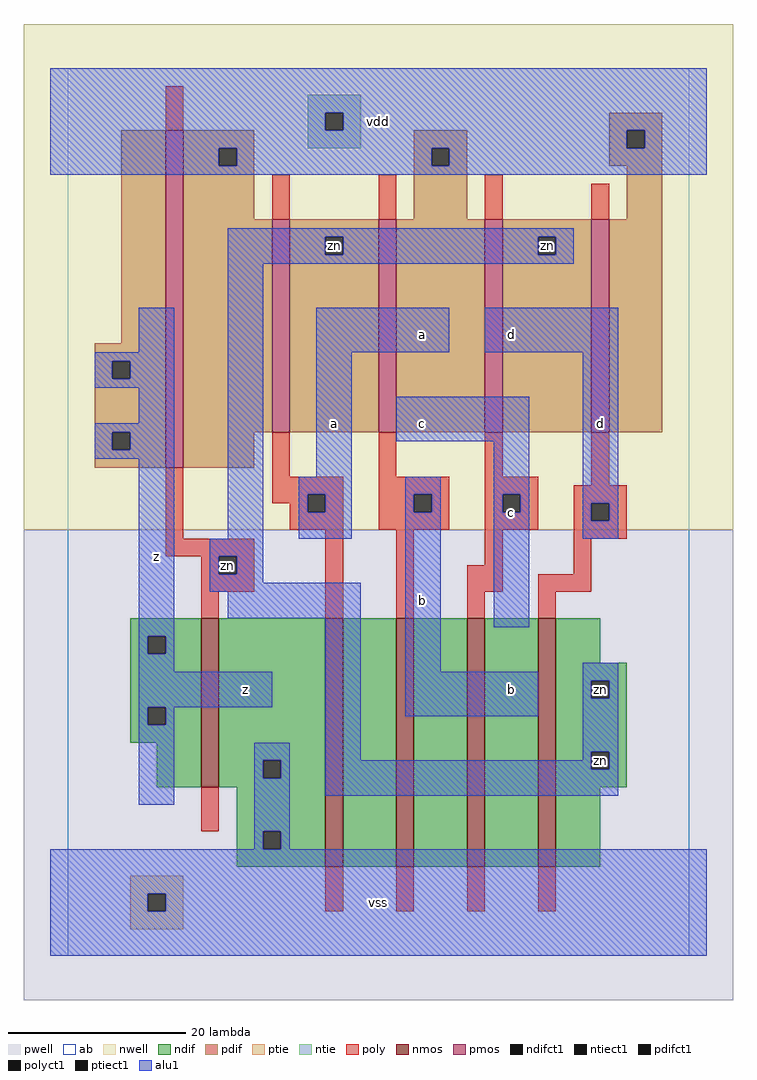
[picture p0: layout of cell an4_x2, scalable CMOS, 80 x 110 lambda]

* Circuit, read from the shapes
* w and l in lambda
.subckt an4_x2 a b c d vdd vss z zn
M1 vss zn z vss nfet w=19 l=2
M2 n1 a vss vss nfet w=28 l=2
M3 n2 b n1 vss nfet w=28 l=2
M4 n3 c n2 vss nfet w=28 l=2
M5 zn d n3 vss nfet w=28 l=2
M6 vdd zn z vdd pfet w=38 l=2
M7 zn a vdd vdd pfet w=24 l=2
M8 vdd b zn vdd pfet w=24 l=2
M9 zn c vdd vdd pfet w=24 l=2
M10 vdd d zn vdd pfet w=24 l=2
.ends

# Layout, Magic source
magic
tech scmos
<< ab >>
rect 0 0 70 100
<< nwell >>
rect -5 48 75 105
<< pwell >>
rect -5 -5 75 48
<< poly >>
rect 11 93 13 98
rect 23 83 25 88
rect 35 83 37 88
rect 47 83 49 88
rect 59 83 61 87
rect 11 47 13 55
rect 23 54 25 59
rect 35 54 37 59
rect 47 54 49 59
rect 23 52 31 54
rect 23 51 27 52
rect 25 50 27 51
rect 29 50 31 52
rect 25 48 31 50
rect 35 52 43 54
rect 35 50 39 52
rect 41 50 43 52
rect 35 48 43 50
rect 47 52 53 54
rect 59 53 61 59
rect 47 50 49 52
rect 51 50 53 52
rect 47 48 53 50
rect 57 51 63 53
rect 57 49 59 51
rect 61 49 63 51
rect 11 45 21 47
rect 15 43 17 45
rect 19 43 21 45
rect 15 41 21 43
rect 15 38 17 41
rect 29 38 31 48
rect 37 38 39 48
rect 47 44 49 48
rect 45 41 49 44
rect 57 47 63 49
rect 57 43 59 47
rect 53 41 59 43
rect 45 38 47 41
rect 53 38 55 41
rect 15 14 17 19
rect 29 5 31 10
rect 37 5 39 10
rect 45 5 47 10
rect 53 5 55 10
<< ndif >>
rect 7 36 15 38
rect 7 34 9 36
rect 11 34 15 36
rect 7 28 15 34
rect 7 26 9 28
rect 11 26 15 28
rect 7 24 15 26
rect 10 19 15 24
rect 17 22 29 38
rect 17 20 22 22
rect 24 20 29 22
rect 17 19 29 20
rect 19 14 29 19
rect 19 12 22 14
rect 24 12 29 14
rect 19 10 29 12
rect 31 10 37 38
rect 39 10 45 38
rect 47 10 53 38
rect 55 33 60 38
rect 55 31 63 33
rect 55 29 59 31
rect 61 29 63 31
rect 55 23 63 29
rect 55 21 59 23
rect 61 21 63 23
rect 55 19 63 21
rect 55 10 60 19
<< pdif >>
rect 61 93 67 95
rect 6 69 11 93
rect 3 67 11 69
rect 3 65 5 67
rect 7 65 11 67
rect 3 59 11 65
rect 3 57 5 59
rect 7 57 11 59
rect 3 55 11 57
rect 13 91 21 93
rect 39 91 45 93
rect 13 89 17 91
rect 19 89 21 91
rect 13 83 21 89
rect 39 89 41 91
rect 43 89 45 91
rect 61 91 63 93
rect 65 91 67 93
rect 61 89 67 91
rect 39 83 45 89
rect 63 83 67 89
rect 13 59 23 83
rect 25 81 35 83
rect 25 79 29 81
rect 31 79 35 81
rect 25 59 35 79
rect 37 59 47 83
rect 49 81 59 83
rect 49 79 53 81
rect 55 79 59 81
rect 49 59 59 79
rect 61 59 67 83
rect 13 55 21 59
<< alu1 >>
rect -2 95 72 100
rect -2 93 29 95
rect 31 93 72 95
rect -2 91 63 93
rect 65 91 72 93
rect -2 89 17 91
rect 19 89 41 91
rect 43 89 72 91
rect -2 88 72 89
rect 18 81 57 82
rect 18 79 29 81
rect 31 79 53 81
rect 55 79 57 81
rect 18 78 57 79
rect 8 68 12 73
rect 3 67 12 68
rect 3 65 5 67
rect 7 65 12 67
rect 3 64 12 65
rect 8 60 12 64
rect 3 59 12 60
rect 3 57 5 59
rect 7 57 12 59
rect 3 56 12 57
rect 8 36 12 56
rect 18 47 22 78
rect 28 68 43 73
rect 47 68 62 73
rect 28 54 32 68
rect 37 58 52 63
rect 26 52 32 54
rect 26 50 27 52
rect 29 50 32 52
rect 26 47 32 50
rect 38 52 42 54
rect 38 50 39 52
rect 41 50 42 52
rect 16 45 22 47
rect 16 43 17 45
rect 19 43 22 45
rect 16 42 22 43
rect 16 41 33 42
rect 18 38 33 41
rect 8 34 9 36
rect 11 34 12 36
rect 8 32 12 34
rect 8 28 23 32
rect 8 26 9 28
rect 11 26 12 28
rect 8 17 12 26
rect 21 22 25 24
rect 21 20 22 22
rect 24 20 25 22
rect 21 14 25 20
rect 29 22 33 38
rect 38 32 42 50
rect 48 52 52 58
rect 48 50 49 52
rect 51 50 52 52
rect 48 37 52 50
rect 58 51 62 68
rect 58 49 59 51
rect 61 49 62 51
rect 58 47 62 49
rect 38 27 53 32
rect 58 31 62 33
rect 58 29 59 31
rect 61 29 62 31
rect 58 23 62 29
rect 58 22 59 23
rect 29 21 59 22
rect 61 21 62 23
rect 29 18 62 21
rect 21 12 22 14
rect 24 12 25 14
rect -2 7 72 12
rect -2 5 9 7
rect 11 5 72 7
rect -2 0 72 5
<< ptie >>
rect 7 7 13 9
rect 7 5 9 7
rect 11 5 13 7
rect 7 3 13 5
<< ntie >>
rect 27 95 33 97
rect 27 93 29 95
rect 31 93 33 95
rect 27 91 33 93
<< nmos >>
rect 15 19 17 38
rect 29 10 31 38
rect 37 10 39 38
rect 45 10 47 38
rect 53 10 55 38
<< pmos >>
rect 11 55 13 93
rect 23 59 25 83
rect 35 59 37 83
rect 47 59 49 83
rect 59 59 61 83
<< polyct1 >>
rect 27 50 29 52
rect 39 50 41 52
rect 49 50 51 52
rect 59 49 61 51
rect 17 43 19 45
<< ndifct1 >>
rect 9 34 11 36
rect 9 26 11 28
rect 22 20 24 22
rect 22 12 24 14
rect 59 29 61 31
rect 59 21 61 23
<< ntiect1 >>
rect 29 93 31 95
<< ptiect1 >>
rect 9 5 11 7
<< pdifct1 >>
rect 5 65 7 67
rect 5 57 7 59
rect 17 89 19 91
rect 41 89 43 91
rect 63 91 65 93
rect 29 79 31 81
rect 53 79 55 81
<< labels >>
rlabel polyct1 18 44 18 44 6 zn
rlabel pdifct1 30 80 30 80 6 zn
rlabel ndifct1 60 22 60 22 6 zn
rlabel ndifct1 60 30 60 30 6 zn
rlabel pdifct1 54 80 54 80 6 zn
rlabel alu1 10 45 10 45 6 z
rlabel alu1 20 30 20 30 6 z
rlabel alu1 30 60 30 60 6 a
rlabel alu1 35 6 35 6 6 vss
rlabel alu1 40 40 40 40 6 b
rlabel alu1 50 30 50 30 6 b
rlabel alu1 50 50 50 50 6 c
rlabel alu1 50 70 50 70 6 d
rlabel alu1 40 70 40 70 6 a
rlabel alu1 40 60 40 60 6 c
rlabel alu1 35 94 35 94 6 vdd
rlabel alu1 60 60 60 60 6 d
<< end >>
